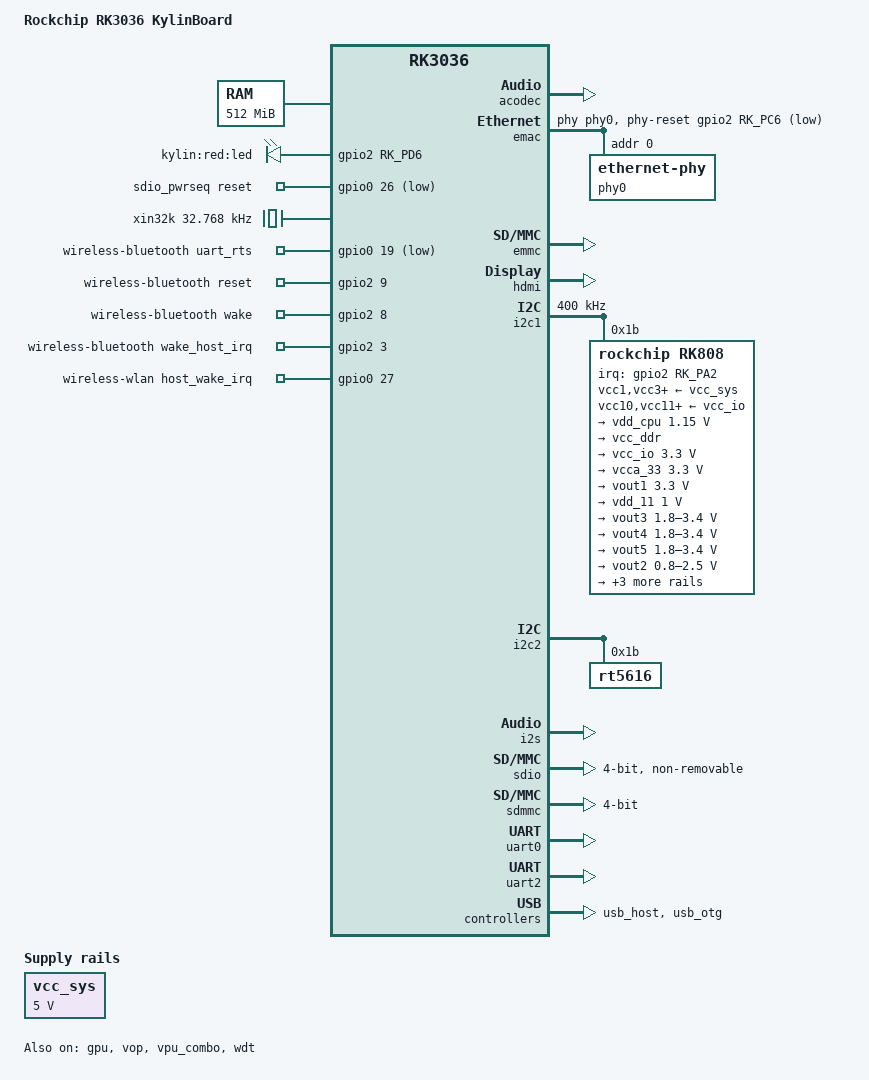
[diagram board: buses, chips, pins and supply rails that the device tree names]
// SPDX-License-Identifier: (GPL-2.0+ OR MIT)

/dts-v1/;

#include "rk3036.dtsi"

/ {
	model = "Rockchip RK3036 KylinBoard";
	compatible = "rockchip,rk3036-kylin", "rockchip,rk3036";

	chosen {
		bootargs = "console=uart8250,mmio32,0x20068000 rw root=PARTUUID=7c0b0000-0000 rootfstype=ext4 rootwait";
	};

	memory@60000000 {
		device_type = "memory";
		reg = <0x60000000 0x20000000>;
	};

	leds: gpio-leds {
		compatible = "gpio-leds";

		work_led: led-0 {
			gpios = <&gpio2 RK_PD6 GPIO_ACTIVE_HIGH>;
			label = "kylin:red:led";
			pinctrl-names = "default";
			pinctrl-0 = <&led_ctl>;
		};
	};

	sdio_pwrseq: sdio-pwrseq {
		compatible = "mmc-pwrseq-simple";
		pinctrl-names = "default";
		pinctrl-0 = <&bt_wake_h>;

		/*
		 * On the module itself this is one of these (depending
		 * on the actual card populated):
		 * - SDIO_RESET_L_WL_REG_ON
		 * - SDIO_RESET_L_WL_RST
		 * - SDIO_RESET_L_BT_EN
		 */
		reset-gpios = <&gpio0 26 GPIO_ACTIVE_LOW>; /* WL_REG_ON */
	};

	sound {
		compatible = "simple-audio-card";
		simple-audio-card,format = "i2s";
		simple-audio-card,name = "rockchip,rt5616-codec";
		simple-audio-card,mclk-fs = <512>;
		simple-audio-card,widgets =
			"Microphone", "Microphone Jack",
			"Headphone", "Headphone Jack";
		simple-audio-card,routing =
			"MIC1", "Microphone Jack",
			"MIC2", "Microphone Jack",
			"Microphone Jack", "micbias1",
			"Headphone Jack", "HPOL",
			"Headphone Jack", "HPOR";

		simple-audio-card,dai-link@0 {
			format = "i2s";
			cpu {
				sound-dai = <&i2s>;
			};

			codec {
				sound-dai = <&rt5616>;
			};
		};

		simple-audio-card,dai-link@1 {
			format = "i2s";
			cpu {
				sound-dai = <&i2s>;
			};

			codec {
				sound-dai = <&hdmi>;
			};
		};
	};

	vcc_sys: vsys-regulator {
		compatible = "regulator-fixed";
		regulator-name = "vcc_sys";
		regulator-min-microvolt = <5000000>;
		regulator-max-microvolt = <5000000>;
		regulator-always-on;
		regulator-boot-on;
	};

	xin32k: xin32k {
		compatible = "fixed-clock";
		clock-frequency = <32768>;
		clock-output-names = "xin32k";
		#clock-cells = <0>;
	};

	wireless-bluetooth {
		compatible = "bluetooth-platdata";
		uart_rts_gpios = <&gpio0 19 GPIO_ACTIVE_LOW>;
		pinctrl-names = "default", "rts_gpio";
		pinctrl-0 = <&uart0_rts>;
		pinctrl-1 = <&uart0_gpios>;
		BT,reset_gpio = <&gpio2 9 GPIO_ACTIVE_HIGH>;
		BT,wake_gpio = <&gpio2 8 GPIO_ACTIVE_HIGH>;
		BT,wake_host_irq = <&gpio2 3 GPIO_ACTIVE_HIGH>;
		status = "okay";
	};

	wireless-wlan {
		compatible = "wlan-platdata";
		rockchip,grf = <&grf>;
		wifi_chip_type = "ap6212";
		WIFI,host_wake_irq = <&gpio0 27 GPIO_ACTIVE_HIGH>;
		status = "okay";
	};
};

&acodec {
	status = "okay";
};

&cpu0 {
	cpu-supply = <&vdd_cpu>;
};

&cpu0_opp_table {
	/delete-node/ opp-408000000;
	/delete-node/ opp-600000000;
	/delete-node/ opp-816000000;
	/delete-node/ opp-1200000000;
};

&emac {
	pinctrl-names = "default";
	pinctrl-0 = <&emac_xfer>, <&emac_mdio>;
	phy = <&phy0>;
	phy-reset-gpios = <&gpio2 RK_PC6 GPIO_ACTIVE_LOW>; /* PHY_RST */
	phy-reset-duration = <10>; /* millisecond */

	status = "okay";

	phy0: ethernet-phy@0 {
		reg = <0>;
	};
};

&emmc {
	no-sdio;
	no-sd;
	status = "okay";
};

&gpu {
	status = "okay";
	mali-supply = <&vdd_cpu>;
};

/*
 * Just as GPU's power supply is provided by cpu regulator, and fixed-frequency
 * on CPU.
 */
&gpu_opp_table {
	opp-200000000 {
		opp-microvolt = <1150000>;
	};
	opp-400000000 {
		opp-microvolt = <1150000>;
	};
};

&hdmi {
	status = "okay";
};

&hevc_mmu {
	status = "okay";
};

&i2c1 {
	clock-frequency = <400000>;

	status = "okay";

	rk808: pmic@1b {
		compatible = "rockchip,rk808";
		reg = <0x1b>;
		interrupt-parent = <&gpio2>;
		interrupts = <RK_PA2 IRQ_TYPE_LEVEL_LOW>;
		pinctrl-names = "default";
		pinctrl-0 = <&pmic_int &global_pwroff>;
		rockchip,system-power-controller;
		wakeup-source;
		#clock-cells = <1>;
		clock-output-names = "rk808-clkout1", "rk808-clkout2";

		vcc1-supply = <&vcc_sys>;
		vcc3-supply = <&vcc_sys>;
		vcc4-supply = <&vcc_sys>;
		vcc6-supply = <&vcc_sys>;
		vcc7-supply = <&vcc_sys>;
		vcc9-supply = <&vcc_sys>;
		vcc10-supply = <&vcc_io>;
		vcc11-supply = <&vcc_io>;
		vddio-supply = <&vcc_io>;

		regulators {
			vdd_cpu: DCDC_REG1 {
				regulator-always-on;
				regulator-boot-on;
				regulator-min-microvolt = <1150000>;
				regulator-max-microvolt = <1150000>;
				regulator-name = "vdd_arm";
				regulator-state-mem {
					regulator-on-in-suspend;
					regulator-suspend-microvolt = <1150000>;
				};
			};

			vcc_ddr: DCDC_REG3 {
				regulator-always-on;
				regulator-boot-on;
				regulator-name = "vcc_ddr";
				regulator-state-mem {
					regulator-on-in-suspend;
				};
			};

			vcc_io: DCDC_REG4 {
				regulator-always-on;
				regulator-boot-on;
				regulator-min-microvolt = <3300000>;
				regulator-max-microvolt = <3300000>;
				regulator-name = "vcc_io";
				regulator-state-mem {
					regulator-on-in-suspend;
					regulator-suspend-microvolt = <3300000>;
				};
			};

			vcca_33: LDO_REG1 {
				regulator-always-on;
				regulator-boot-on;
				regulator-min-microvolt = <3300000>;
				regulator-max-microvolt = <3300000>;
				regulator-name = "vcca_33";
				regulator-state-mem {
					regulator-on-in-suspend;
					regulator-suspend-microvolt = <3300000>;
				};
			};

			vout1: LDO_REG2 {
				regulator-always-on;
				regulator-boot-on;
				regulator-min-microvolt = <3300000>;
				regulator-max-microvolt = <3300000>;
				regulator-name = "vout1";
				regulator-state-mem {
					regulator-off-in-suspend;
				};
			};

			vdd_11: LDO_REG3 {
				regulator-always-on;
				regulator-boot-on;
				regulator-min-microvolt = <1000000>;
				regulator-max-microvolt = <1000000>;
				regulator-name = "vdd_11";
				regulator-state-mem {
					regulator-on-in-suspend;
					regulator-suspend-microvolt = <1000000>;
				};
			};

			vout3: LDO_REG4 {
				regulator-always-on;
				regulator-boot-on;
				regulator-min-microvolt = <1800000>;
				regulator-max-microvolt = <3400000>;
				regulator-name = "vout3";
				regulator-state-mem {
					regulator-on-in-suspend;
					regulator-suspend-microvolt = <1800000>;
				};
			};

			vout4: LDO_REG5 {
				regulator-always-on;
				regulator-boot-on;
				regulator-min-microvolt = <1800000>;
				regulator-max-microvolt = <3400000>;
				regulator-name = "vout4";
				regulator-state-mem {
					regulator-on-in-suspend;
					regulator-suspend-microvolt = <1800000>;
				};
			};

			vout5: LDO_REG6 {
				regulator-always-on;
				regulator-boot-on;
				regulator-min-microvolt = <1800000>;
				regulator-max-microvolt = <3400000>;
				regulator-name = "vout5";
				regulator-state-mem {
					regulator-on-in-suspend;
					regulator-suspend-microvolt = <1800000>;
				};
			};

			vout2: LDO_REG7 {
				regulator-always-on;
				regulator-boot-on;
				regulator-min-microvolt = <800000>;
				regulator-max-microvolt = <2500000>;
				regulator-name = "vout2";
				regulator-state-mem {
					regulator-on-in-suspend;
					regulator-suspend-microvolt = <1800000>;
				};
			};

			vcc18: LDO_REG8 {
				regulator-always-on;
				regulator-boot-on;
				regulator-min-microvolt = <1800000>;
				regulator-max-microvolt = <1800000>;
				regulator-name = "vcc18";
				regulator-state-mem {
					regulator-on-in-suspend;
					regulator-suspend-microvolt = <1800000>;
				};
			};

			vswout1: SWITCH_REG1 {
				regulator-always-on;
				regulator-boot-on;
				regulator-name = "vswout1";
				regulator-state-mem {
					regulator-on-in-suspend;
				};
			};

			vswout2: SWITCH_REG2 {
				regulator-always-on;
				regulator-boot-on;
				regulator-name = "vswout2";
				regulator-state-mem {
					regulator-on-in-suspend;
				};
			};
		};
	};
};

&i2c2 {
	status = "okay";

	rt5616: rt5616@1b {
		compatible = "rt5616";
		reg = <0x1b>;
		clocks = <&cru SCLK_I2S_OUT>;
		clock-names = "mclk";
		#sound-dai-cells = <0>;
	};
};

&i2s {
	status = "okay";
};

&sdio {
	status = "okay";

	bus-width = <4>;
	cap-sd-highspeed;
	cap-sdio-irq;
	rockchip,default-sample-phase = <90>;
	keep-power-in-suspend;
	mmc-pwrseq = <&sdio_pwrseq>;
	non-removable;
	pinctrl-names = "default";
	pinctrl-0 = <&sdio_clk &sdio_cmd &sdio_bus4>;
	sd-uhs-sdr12;
	sd-uhs-sdr25;
	sd-uhs-sdr50;
	sd-uhs-sdr104;
	no-mmc;
	no-sd;
};

&sdmmc {
	bus-width = <4>;
	cap-mmc-highspeed;
	cap-sd-highspeed;
	card-detect-delay = <200>;
	disable-wp;
	pinctrl-names = "default";
	pinctrl-0 = <&sdmmc_clk>, <&sdmmc_cmd>, <&sdmmc_cd>, <&sdmmc_bus4>;
	no-mmc;
	no-sdio;
};

&uart0 {
	pinctrl-0 = <&uart0_xfer>, <&uart0_cts>;
	status = "okay";
};

&uart2 {
	status = "okay";
};

&usb_host {
	status = "okay";
};

&usb_otg {
	status = "okay";
};

&vop {
	status = "okay";
};

&vop_mmu {
	status = "okay";
};

&vpu_combo {
	status = "okay";
};

&vpu_mmu {
	status = "okay";
};

&wdt {
	status = "okay";
};

&pinctrl {
	leds {
		led_ctl: led-ctl {
			rockchip,pins = <2 RK_PD6 RK_FUNC_GPIO &pcfg_pull_none>;
		};
	};

	pmic {
		pmic_int: pmic-int {
			rockchip,pins = <2 RK_PA2 RK_FUNC_GPIO &pcfg_pull_default>;
		};
	};

	sdio {
		bt_wake_h: bt-wake-h {
			rockchip,pins = <2 RK_PB0 RK_FUNC_GPIO &pcfg_pull_default>;
		};
	};

	sdmmc {
		sdmmc_pwr: sdmmc-pwr {
			rockchip,pins = <2 RK_PD4 RK_FUNC_GPIO &pcfg_pull_none>;
		};
	};

	suspend {
		global_pwroff: global-pwroff {
			rockchip,pins = <2 RK_PA7 1 &pcfg_pull_none>;
		};
	};

	wireless-bluetooth {
		uart0_gpios: uart0-gpios {
			rockchip,pins = <0 RK_PC3 RK_FUNC_GPIO &pcfg_pull_none>;
		};
	};
};
